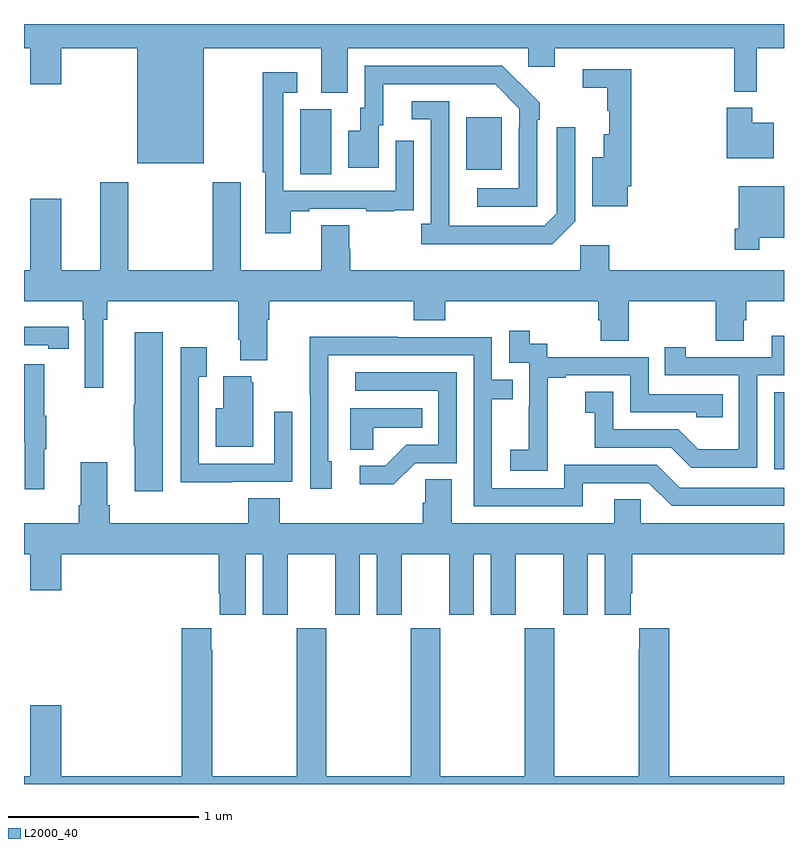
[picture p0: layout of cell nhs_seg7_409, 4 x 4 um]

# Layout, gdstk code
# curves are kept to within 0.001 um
import gdstk
lib = gdstk.Library(unit=1e-6, precision=1e-09)
def R(c, l, rs):  # rectangles x0, y0, x1, y1
    for r in rs: c.add(gdstk.rectangle(r[:2], r[2:], *l))
def P(c, l, *ps):  # polygons
    for p in ps: c.add(gdstk.Polygon(p, *l))
L2000_40 = (2000, 40)

nhs_seg7_409 = lib.new_cell('nhs_seg7_409')
R(nhs_seg7_409, L2000_40, [(144.948,1075.656,145,1076.061), (142.454,1077.208,142.618,1077.552), (143.327,1077.233,143.515,1077.508)])
P(nhs_seg7_409, L2000_40, [(141.946,1077.872),(142.565,1077.872),(142.565,1077.637),(142.705,1077.637),(142.705,1077.872),(143.655,1077.872),(143.655,1077.774),(143.794,1077.774),(143.794,1077.872),(144.739,1077.872),(144.739,1077.644),(144.857,1077.644),(144.857,1077.872),(145,1077.872),(145,1078),(141,1078),(141,1077.872),(141.032,1077.872),(141.032,1077.684),(141.196,1077.684),(141.196,1077.872),(141.596,1077.872),(141.596,1077.266),(141.946,1077.266)],
  [(143.7,1077.497),(143.715,1077.497),(143.715,1077.585),(143.518,1077.78),(142.794,1077.78),(142.794,1077.558),(142.769,1077.558),(142.769,1077.439),(142.706,1077.439),(142.706,1077.243),(142.867,1077.243),(142.867,1077.468),(142.891,1077.468),(142.891,1077.684),(143.479,1077.684),(143.607,1077.555),(143.607,1077.455),(143.604,1077.455),(143.604,1077.135),(143.385,1077.135),(143.385,1077.039),(143.7,1077.039)],
  [(144.178,1077.145),(144.197,1077.145),(144.197,1077.762),(143.94,1077.762),(143.94,1077.664),(144.069,1077.664),(144.069,1077.543),(144.08,1077.543),(144.08,1077.421),(144.05,1077.421),(144.05,1077.298),(143.99,1077.298),(143.99,1077.041),(144.178,1077.041)],
  [(142.405,1077.015),(142.501,1077.015),(142.501,1077.027),(142.801,1077.027),(142.801,1077.015),(142.949,1077.015),(142.949,1077.021),(143.051,1077.021),(143.051,1077.13),(143.052,1077.13),(143.052,1077.385),(142.956,1077.385),(142.956,1077.123),(142.365,1077.123),(142.365,1077.639),(142.438,1077.639),(142.438,1077.745),(142.257,1077.745),(142.257,1077.22),(142.269,1077.22),(142.269,1076.898),(142.405,1076.898)],
  [(143.901,1076.961),(143.901,1077.457),(143.805,1077.457),(143.805,1077.003),(143.739,1076.937),(143.239,1076.937),(143.238,1077.594),(143.04,1077.594),(143.04,1077.498),(143.142,1077.498),(143.142,1076.95),(143.091,1076.95),(143.091,1076.84),(143.78,1076.84)],
  [(144.946,1077.481),(144.832,1077.481),(144.832,1077.559),(144.698,1077.559),(144.698,1077.293),(144.946,1077.293)],
  [(141.418,1076.444),(141.437,1076.444),(141.437,1076.54),(142.127,1076.54),(142.127,1076.338),(142.139,1076.338),(142.139,1076.231),(142.279,1076.231),(142.279,1076.444),(142.292,1076.444),(142.292,1076.54),(143.051,1076.54),(143.051,1076.441),(143.216,1076.441),(143.216,1076.54),(144.023,1076.54),(144.023,1076.442),(144.035,1076.442),(144.035,1076.332),(144.183,1076.332),(144.183,1076.54),(144.64,1076.54),(144.64,1076.332),(144.787,1076.332),(144.787,1076.442),(144.8,1076.442),(144.8,1076.54),(145,1076.54),(145,1076.704),(144.08,1076.704),(144.08,1076.836),(143.928,1076.836),(143.928,1076.704),(142.718,1076.704),(142.718,1076.817),(142.713,1076.817),(142.713,1076.942),(142.565,1076.942),(142.565,1076.704),(142.141,1076.704),(142.141,1077.166),(141.994,1077.166),(141.994,1076.704),(141.549,1076.704),(141.549,1077.166),(141.401,1077.166),(141.401,1076.704),(141.196,1076.704),(141.196,1077.079),(141.032,1077.079),(141.032,1076.704),(141,1076.704),(141,1076.54),(141.308,1076.54),(141.308,1076.444),(141.321,1076.444),(141.321,1076.085),(141.418,1076.085)],
  [(144.871,1076.876),(145,1076.876),(145,1077.145),(144.762,1077.145),(144.762,1076.923),(144.742,1076.923),(144.742,1076.811),(144.871,1076.811)],
  [(141.236,1076.406),(141.128,1076.406),(141.128,1076.407),(141,1076.407),(141,1076.31),(141.128,1076.31),(141.128,1076.29),(141.236,1076.29)],
  [(143.757,1075.855),(143.756,1075.855),(143.756,1076.139),(143.851,1076.139),(143.851,1076.151),(144.192,1076.151),(144.192,1075.956),(144.537,1075.956),(144.537,1075.929),(144.677,1075.929),(144.677,1076.052),(144.288,1076.052),(144.288,1076.247),(143.754,1076.247),(143.754,1076.316),(143.662,1076.316),(143.662,1076.386),(143.553,1076.386),(143.553,1076.217),(143.658,1076.217),(143.658,1075.988),(143.657,1075.988),(143.657,1075.759),(143.559,1075.759),(143.559,1075.649),(143.757,1075.649)],
  [(141.73,1076.377),(141.584,1076.377),(141.584,1075.997),(141.577,1075.997),(141.577,1075.78),(141.584,1075.78),(141.584,1075.542),(141.73,1075.542)],
  [(144.858,1076.151),(145,1076.151),(145,1076.359),(144.935,1076.359),(144.935,1076.247),(144.484,1076.247),(144.484,1076.299),(144.373,1076.299),(144.373,1076.151),(144.762,1076.151),(144.762,1075.762),(144.548,1075.762),(144.444,1075.866),(144.102,1075.866),(144.102,1076.065),(143.955,1076.065),(143.955,1075.955),(144.004,1075.955),(144.004,1075.77),(144.407,1075.77),(144.512,1075.665),(144.858,1075.665)],
  [(143.941,1075.584),(144.288,1075.584),(144.408,1075.464),(145,1075.464),(145,1075.56),(144.45,1075.56),(144.33,1075.68),(143.844,1075.68),(143.844,1075.557),(143.463,1075.557),(143.463,1076.026),(143.573,1076.026),(143.573,1076.127),(143.463,1076.127),(143.463,1076.352),(142.967,1076.352),(142.967,1076.354),(142.504,1076.354),(142.504,1076.047),(142.506,1076.047),(142.506,1075.554),(142.621,1075.554),(142.621,1075.698),(142.602,1075.698),(142.602,1076.256),(143.367,1076.256),(143.367,1075.461),(143.941,1075.461)],
  [(142.097,1075.59),(142.413,1075.59),(142.413,1075.96),(142.317,1075.96),(142.317,1075.686),(141.921,1075.686),(141.921,1076.143),(141.961,1076.143),(141.961,1076.299),(141.825,1076.299),(141.825,1075.589),(142.097,1075.589)],
  [(141.107,1075.763),(141.118,1075.763),(141.118,1075.937),(141.107,1075.937),(141.107,1076.209),(141,1076.209),(141,1075.8),(141.004,1075.8),(141.004,1075.551),(141.107,1075.551)],
  [(143.058,1075.689),(143.277,1075.689),(143.277,1076.166),(142.743,1076.166),(142.743,1076.07),(143.181,1076.07),(143.181,1075.785),(143.012,1075.785),(142.901,1075.674),(142.767,1075.674),(142.767,1075.577),(142.945,1075.577)],
  [(142.207,1076.115),(142.196,1076.115),(142.196,1076.146),(142.049,1076.146),(142.049,1075.978),(142.01,1075.978),(142.01,1075.775),(142.207,1075.775)],
  [(142.839,1075.874),(143.096,1075.874),(143.096,1075.978),(142.718,1075.978),(142.718,1075.759),(142.839,1075.759)],
  [(142.025,1075.003),(142.031,1075.003),(142.031,1074.891),(142.168,1074.891),(142.168,1075.208),(142.256,1075.208),(142.256,1074.891),(142.387,1074.891),(142.387,1075.208),(142.637,1075.208),(142.637,1074.891),(142.768,1074.891),(142.768,1075.208),(142.856,1075.208),(142.856,1074.891),(142.987,1074.891),(142.987,1075.208),(143.237,1075.208),(143.237,1074.891),(143.368,1074.891),(143.368,1075.208),(143.456,1075.208),(143.456,1074.891),(143.587,1074.891),(143.587,1075.208),(143.837,1075.208),(143.837,1074.891),(143.968,1074.891),(143.968,1075.208),(144.056,1075.208),(144.056,1074.891),(144.193,1074.891),(144.193,1075.003),(144.2,1075.003),(144.2,1075.208),(145,1075.208),(145,1075.372),(144.246,1075.372),(144.246,1075.499),(144.107,1075.499),(144.107,1075.372),(143.251,1075.372),(143.251,1075.604),(143.112,1075.604),(143.112,1075.481),(143.099,1075.481),(143.099,1075.372),(142.346,1075.372),(142.346,1075.505),(142.181,1075.505),(142.181,1075.372),(141.452,1075.372),(141.452,1075.468),(141.439,1075.468),(141.439,1075.693),(141.299,1075.693),(141.299,1075.468),(141.287,1075.468),(141.287,1075.372),(141,1075.372),(141,1075.208),(141.032,1075.208),(141.032,1075.02),(141.196,1075.02),(141.196,1075.208),(142.025,1075.208)],
  [(145,1074.04),(144.395,1074.04),(144.395,1074.82),(144.239,1074.82),(144.239,1074.707),(144.235,1074.707),(144.235,1074.04),(143.79,1074.04),(143.79,1074.82),(143.635,1074.82),(143.635,1074.04),(143.19,1074.04),(143.19,1074.82),(143.035,1074.82),(143.035,1074.04),(142.59,1074.04),(142.59,1074.82),(142.435,1074.82),(142.435,1074.04),(141.99,1074.04),(141.99,1074.707),(141.985,1074.707),(141.985,1074.82),(141.83,1074.82),(141.83,1074.04),(141.196,1074.04),(141.196,1074.415),(141.032,1074.415),(141.032,1074.04),(141,1074.04),(141,1074),(145,1074)])

lib.write_gds('nhs_seg7_409.gds')
